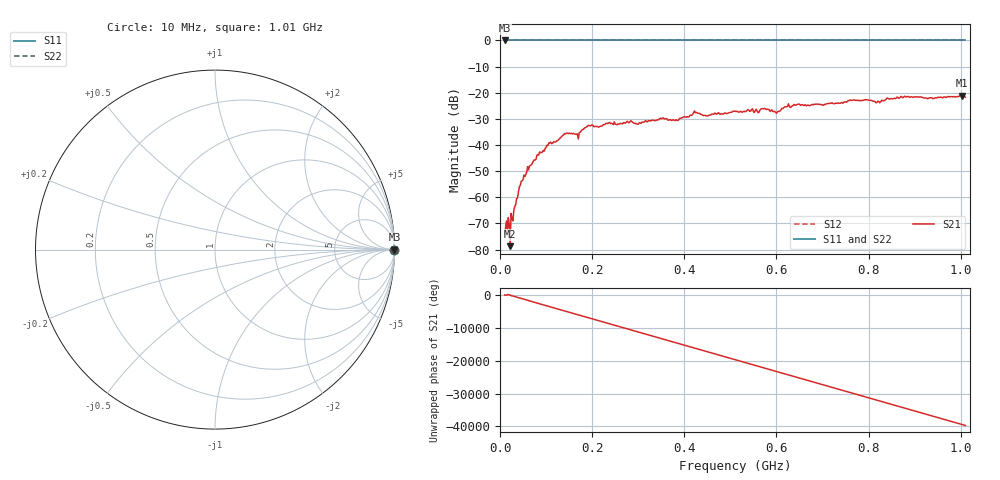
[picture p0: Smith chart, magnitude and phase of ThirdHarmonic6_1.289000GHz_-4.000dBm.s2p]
! 8/16/2025 2:05:03 PM
! C:\ANRITSUVNA\TEMP\TEMP.S2P
! CHANNEL.1
! TR.MEASUREMENT
! RAW.DATA
! RF.CORRECTION.OFF
! AVERAGING.OFF
! IF.BANDWIDTH: 5KHZ
! SWEEPTYPE:  FREQ.SWEEP(Linear)
! Reference Plane Port Info
! PORT:  PORT1  PORT2
! DISTANCE:  0  m  0  m
! TIME:  0  s  0  s
! PHASE.OFFSET:  0  deg.  0  deg.
! LOSS:  0  dB  0  dB
! REF.LOSS:  0  dB  0  dB
! REF.FREQ:  0  Hz  0  Hz
! Power Info
! POWER:  -20  dBm  -20  dBm
! EFF.POWER:  -20  dBm  -20  dBm
! SOURCE.ATTEN:  0  dB  0  dB
! TEST.ATTEN:  0  dB  0  dB
# GHZ S RI R 50.0
! FREQ.GHZ  S11RE  S11IM  S21RE  S21IM  S12RE  S12IM  S22RE  S22IM
!; PortSelection: Port_12
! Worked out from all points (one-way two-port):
!   501 points, 10 MHz to 1.01 GHz, reference 50 ohm
!   highest |S21| = -21.08 dB at 1.002 GHz (marker M1); lowest = -78.7 dB at 22 MHz (marker M2)
!   lowest |S11| = 0.0 dB at 10 MHz (marker M3)
!   |S11| at or under -10 dB: nowhere
!   |S22| runs from 0.0 to 0.0 dB; largest |S21 - S12| = 1.1
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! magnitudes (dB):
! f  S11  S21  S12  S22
! 10 MHz  0.0  -74.3  0.0  0.0
! 22 MHz  0.0  -78.7  0.0  0.0
! 26 MHz  0.0  -68.1  0.0  0.0
! 28 MHz  0.0  -69.0  0.0  0.0
! 48 MHz  0.0  -53.7  0.0  0.0
! 84 MHz  0.0  -43.9  0.0  0.0
! 140 MHz  0.0  -35.6  0.0  0.0
! 166 MHz  0.0  -35.9  0.0  0.0
! 178 MHz  0.0  -34.1  0.0  0.0
! 196 MHz  0.0  -32.6  0.0  0.0
! 344 MHz  0.0  -30.4  0.0  0.0
! 382 MHz  0.0  -30.3  0.0  0.0
! 424 MHz  0.0  -27.7  0.0  0.0
! 448 MHz  0.0  -28.8  0.0  0.0
! 510 MHz  0.0  -27.1  0.0  0.0
! 572 MHz  0.0  -26.1  0.0  0.0
! 602 MHz  0.0  -27.3  0.0  0.0
! 622 MHz  0.0  -25.4  0.0  0.0
! 678 MHz  0.0  -24.5  0.0  0.0
! 844 MHz  0.0  -22.4  0.0  0.0
! 1.002 GHz  0.0  -21.1  0.0  0.0
! 1.01 GHz  0.0  -21.7  0.0  0.0
